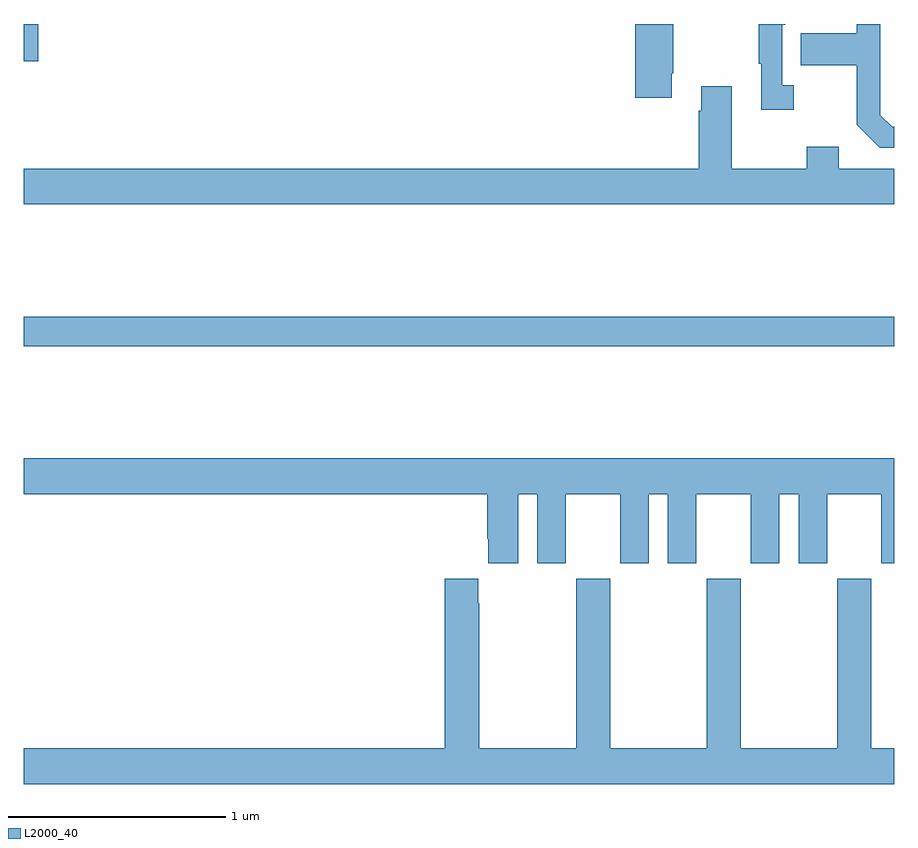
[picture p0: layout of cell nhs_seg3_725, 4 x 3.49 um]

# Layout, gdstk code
import gdstk
lib = gdstk.Library(unit=1e-6, precision=1e-09)
def R(c, l, rs):  # rectangles x0, y0, x1, y1
    for r in rs: c.add(gdstk.rectangle(r[:2], r[2:], *l))
def P(c, l, *ps):  # polygons
    for p in ps: c.add(gdstk.Polygon(p, *l))
L2000_40 = (2000, 40)

nhs_seg3_725 = lib.new_cell('nhs_seg3_725')
R(nhs_seg3_725, L2000_40, [(147,710.92,151,711.056), (147,712.229,147.067,712.4)])
P(nhs_seg3_725, L2000_40, [(149.977,712.174),(149.985,712.174),(149.985,712.4),(149.81,712.4),(149.81,712.062),(149.977,712.062)],
  [(150.538,712.118),(150.486,712.118),(150.486,712.397),(150.499,712.397),(150.499,712.4),(150.378,712.4),(150.378,712.217),(150.389,712.217),(150.389,712.005),(150.538,712.005)],
  [(151,711.927),(150.99,711.927),(150.936,711.981),(150.936,712.4),(150.828,712.4),(150.828,712.357),(150.571,712.357),(150.571,712.21),(150.828,712.21),(150.828,711.937),(150.933,711.831),(151,711.831)],
  [(151,711.736),(150.745,711.736),(150.745,711.835),(150.598,711.835),(150.598,711.736),(150.253,711.736),(150.253,712.114),(150.113,712.114),(150.113,712.001),(150.101,712.001),(150.101,711.736),(147,711.736),(147,711.572),(151,711.572)],
  [(147,710.24),(149.129,710.24),(149.129,710.035),(149.135,710.035),(149.135,709.923),(149.272,709.923),(149.272,710.24),(149.36,710.24),(149.36,709.923),(149.491,709.923),(149.491,710.24),(149.741,710.24),(149.741,709.923),(149.872,709.923),(149.872,710.24),(149.96,710.24),(149.96,709.923),(150.091,709.923),(150.091,710.24),(150.341,710.24),(150.341,709.923),(150.472,709.923),(150.472,710.24),(150.56,710.24),(150.56,709.923),(150.691,709.923),(150.691,710.24),(150.941,710.24),(150.941,709.923),(151,709.923),(151,710.404),(147,710.404)],
  [(151,709.072),(150.894,709.072),(150.894,709.852),(150.739,709.852),(150.739,709.072),(150.294,709.072),(150.294,709.852),(150.139,709.852),(150.139,709.072),(149.694,709.072),(149.694,709.852),(149.539,709.852),(149.539,709.072),(149.094,709.072),(149.094,709.739),(149.089,709.739),(149.089,709.852),(148.934,709.852),(148.934,709.072),(147,709.072),(147,708.908),(151,708.908)])

lib.write_gds('nhs_seg3_725.gds')
